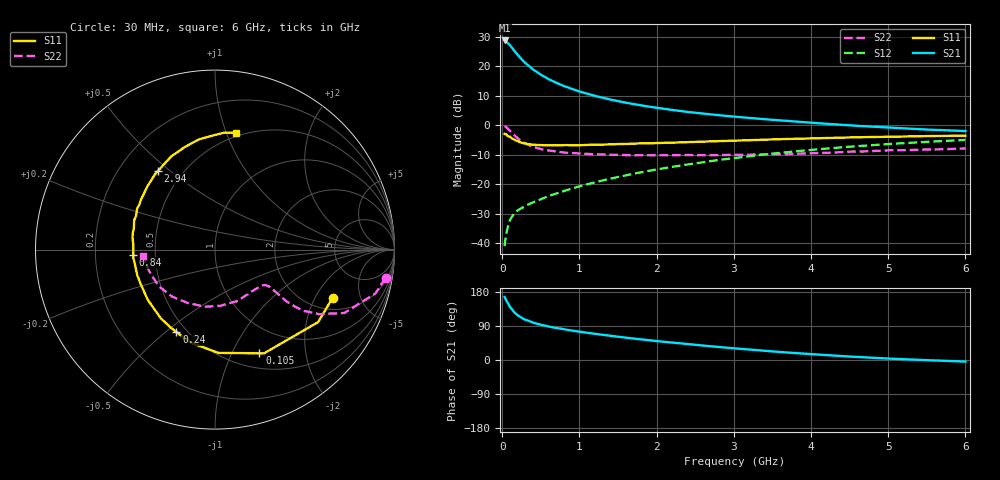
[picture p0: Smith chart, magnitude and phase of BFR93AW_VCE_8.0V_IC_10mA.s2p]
! Infineon Technologies  Discrete & RF Semiconductors
! BFR93AW
! VCE =  8.0 V,  IC =  10 mA
! Common Emitter S-Parameters:  Nov 2015
# GHz  S  MA  R  50
!  f  S11  S21  S12  S22
! GHz  MAG  ANG  MAG  ANG  MAG  ANG  MAG  ANG
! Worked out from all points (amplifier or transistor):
!   206 points, 30 MHz to 6 GHz, reference 50 ohm
!   highest |S21| = 28.7 dB at 30 MHz (marker M1)
!   |S21| within 3 dB of that: start of sweep to 140.1 MHz
!   unconditionally stable (mu >= 1): 760.7 MHz to 2.19 GHz
!   at 200 MHz: K = 0.48, MSG = 26.3 dB, |S12| = -28.9 dB
!   at 1.56 GHz: K = 1.06, MAG = 11.0 dB, |S12| = -17.2 dB
!   at 6 GHz: K = 0.89, MSG = 1.5 dB, |S12| = -5.0 dB
!   S11 on the Smith chart (normalised r, x): 30 MHz: 2.62, -2.82; 105 MHz: 0.67, -1.28; 240 MHz: 0.44, -0.55; 840 MHz: 0.37, -0.03; 2.94 GHz: 0.37, +0.46; 6 GHz: 0.47, +1.09
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0.03  0.7084 -22.2  27.12 166.2  0.0089 78.8  0.9629 -9.4
0.05  0.7023 -35.1  26.35 157.2  0.0141 75.4  0.9265 -15.3
0.1  0.6393 -64.7  22.49 139.5  0.0249 63.6  0.8024 -26.1
0.105  0.6286 -66.8  22.05 138.4  0.0255 62.8  0.7902 -26.6
0.15  0.5758 -88.1  18.49 126.7  0.0312 57.2  0.683 -31.8
0.2  0.5363 -104.3  15.4 117.8  0.036 54.0  0.5964 -34.8
0.24  0.5076 -115.0  13.46 112.6  0.0385 53.2  0.544 -35.5
0.26  0.499 -119.8  12.63 110.2  0.0399 53.1  0.522 -35.7
0.3  0.488 -128.1  11.21 106.1  0.0429 53.4  0.4866 -35.9
0.4  0.4675 -143.3  8.706 98.5  0.0493 55.0  0.4272 -35.1
0.5  0.4573 -154.1  7.124 92.8  0.0555 57.6  0.3912 -34.6
0.6  0.456 -161.8  5.997 88.3  0.0628 59.3  0.3705 -34.2
0.7  0.4529 -168.6  5.203 84.5  0.0695 61.5  0.3562 -34.5
0.84  0.4568 -176.2  4.384 79.7  0.0796 63.5  0.34 -35.5
1.04  0.4588 175.0  3.577 73.5  0.0949 65.7  0.3282 -37.8
1.5  0.479 160.1  2.538 61.4  0.1325 67.5  0.3136 -46.3
2.02  0.4978 146.0  1.947 49.5  0.1789 66.8  0.3081 -58.7
2.94  0.5415 125.8  1.415 31.9  0.2697 61.7  0.3128 -82.2
3.1  0.5491 122.5  1.356 29.3  0.2859 60.3  0.314 -86.9
4.1  0.5995 104.8  1.074 14.2  0.3903 50.6  0.3357 -120.0
5.1  0.6369 90.6  0.895 3.0  0.4859 39.2  0.3747 -150.0
6  0.6611 79.6  0.793 -4.1  0.5614 28.8  0.4015 -174.9
